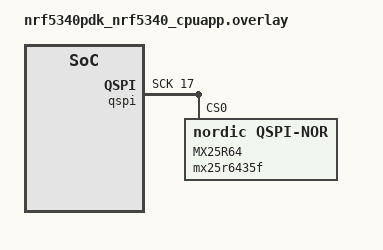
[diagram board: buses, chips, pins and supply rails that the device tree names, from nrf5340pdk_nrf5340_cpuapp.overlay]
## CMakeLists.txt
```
# SPDX-License-Identifier: Apache-2.0

cmake_minimum_required(VERSION 3.13.1)
find_package(Zephyr REQUIRED HINTS $ENV{ZEPHYR_BASE})
project(qspi_testing)

FILE(GLOB app_sources src/*.c)
target_sources(app PRIVATE ${app_sources})
```

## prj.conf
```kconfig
CONFIG_STDOUT_CONSOLE=y
CONFIG_FLASH=y
CONFIG_SPI=y

CONFIG_NORDIC_QSPI_NOR=y
```

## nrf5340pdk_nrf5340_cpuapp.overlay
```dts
&qspi {
	status = "okay";
	sck-pin = <17>;
	io-pins = <13>, <14>, <15>, <16>;
	csn-pins = <18>;
	mx25r64: mx25r6435f@0 {
		compatible = "nordic,qspi-nor";
		reg = <0>;
		writeoc = "pp4io";
		readoc = "read4io";
		sck-frequency = <8000000>;
		label = "MX25R64";
		jedec-id = [c2 28 17];
		size = <67108864>;
		has-be32k;
		has-dpd;
		t-enter-dpd = <10000>;
		t-exit-dpd = <35000>;
	};
};
```

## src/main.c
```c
/*
 * Copyright (c) 2016 Intel Corporation.
 *
 * SPDX-License-Identifier: Apache-2.0
 */

#include <zephyr.h>
#include <drivers/flash.h>
#include <device.h>
#include <stdio.h>
#include <string.h>

#if (CONFIG_SPI_FLASH_W25QXXDV - 0)
/* NB: W25Q16DV is a JEDEC spi-nor device, but has a separate driver. */
#define FLASH_DEVICE CONFIG_SPI_FLASH_W25QXXDV_DRV_NAME
#define FLASH_NAME "W25QXXDV"
#elif (CONFIG_SPI_NOR - 0) ||				\
	DT_NODE_HAS_STATUS(DT_INST(0, jedec_spi_nor), okay)
#define FLASH_DEVICE DT_LABEL(DT_INST(0, jedec_spi_nor))
#define FLASH_NAME "JEDEC SPI-NOR"
#elif (CONFIG_NORDIC_QSPI_NOR - 0) || \
	DT_NODE_HAS_STATUS(DT_INST(0, nordic_qspi_nor), okay)
#define FLASH_DEVICE DT_LABEL(DT_INST(0, nordic_qspi_nor))
#define FLASH_NAME "JEDEC QSPI-NOR"
#else
#error Unsupported flash driver
#endif

#if defined(CONFIG_BOARD_ADAFRUIT_FEATHER_STM32F405)
#define FLASH_TEST_REGION_OFFSET 0xf000
#else
#define FLASH_TEST_REGION_OFFSET 0xff000
#endif
#define FLASH_SECTOR_SIZE        4096

void main(void)
{
	const u8_t expected[] = {
			0x0,0x1,0x2,0x3,0x4,0x5,0x6,0x7,0x8,0x9,0xA,0xB,0xC,0xD,0xE,0xF,
			0x10,0x11,0x12,0x13,0x14,0x15,0x16,0x17,0x18,0x19,0x1A,0x1B,0x1C,
			0x1D,0x1E,0x1F,0x20,0x21,0x22,0x23,0x24,0x25,0x26,0x27,0x28,0x29,
			0x2A,0x2B,0x2C,0x2D,0x2E,0x2F,0x30,0x31,0x32,0x33,0x34,0x35,0x36,
			0x37,0x38,0x39,0x3A,0x3B,0x3C,0x3D,0x3E,0x3F,0x40,0x41,0x42,0x43,
			0x44,0x45,0x46,0x47,0x48,0x49,0x4A,0x4B,0x4C,0x4D,0x4E,0x4F,0x50,
			0x51,0x52,0x53,0x54,0x55,0x56,0x57,0x58,0x59,0x5A,0x5B,0x5C,0x5D,
			0x5E,0x5F,0x60,0x61,0x62,0x63,0x64,0x65,0x66,0x67,0x68,0x69,0x6A,
			0x6B,0x6C,0x6D,0x6E,0x6F,0x70,0x71,0x72,0x73,0x74,0x75,0x76,0x77,
			0x78,0x79,0x7A,0x7B,0x7C,0x7D,0x7E,0x7F,0x80,0x81,0x82,0x83,0x84,
			0x85,0x86,0x87,0x88,0x89,0x8A,0x8B,0x8C,0x8D,0x8E,0x8F,0x90,0x91,
			0x92,0x93,0x94,0x95,0x96,0x97,0x98,0x99,0x9A,0x9B,0x9C,0x9D,0x9E,
			0x9F,0xA0,0xA1,0xA2,0xA3,0xA4,0xA5,0xA6,0xA7,0xA8,0xA9,0xAA,0xAB,
			0xAC,0xAD,0xAE,0xAF,0xB0,0xB1,0xB2,0xB3,0xB4,0xB5,0xB6,0xB7,0xB8,
			0xB9,0xBA,0xBB,0xBC,0xBD,0xBE,0xBF,0xC0,0xC1,0xC2,0xC3,0xC4,0xC5,
			0xC6,0xC7,0xC8,0xC9,0xCA,0xCB,0xCC,0xCD,0xCE,0xCF,0xD0,0xD1,0xD2,
			0xD3,0xD4,0xD5,0xD6,0xD7,0xD8,0xD9,0xDA,0xDB,0xDC,0xDD,0xDE,0xDF,
			0xE0,0xE1,0xE2,0xE3,0xE4,0xE5,0xE6,0xE7,0xE8,0xE9,0xEA,0xEB,0xEC,
			0xED,0xEE,0xEF,0xF0,0xF1,0xF2,0xF3,0xF4,0xF5,0xF6,0xF7,0xF8,0xF9,
			0xFA,0xFB,0xFC,0xFD,0xFE,0xFF };
	const size_t len = sizeof(expected);
	u8_t buf[sizeof(expected)];
	struct device *flash_dev;
	int rc;

	printf("\n" FLASH_NAME " SPI flash testing\n");
	printf("==========================\n");

	flash_dev = device_get_binding(FLASH_DEVICE);

	if (!flash_dev) {
		printf("SPI flash driver %s was not found!\n",
		       FLASH_DEVICE);
		return;
	}

	/* Write protection needs to be disabled before each write or
	 * erase, since the flash component turns on write protection
	 * automatically after completion of write and erase
	 * operations.
	 */
	printf("\nTest 1: Flash erase\n");
	flash_write_protection_set(flash_dev, false);

	rc = flash_erase(flash_dev, FLASH_TEST_REGION_OFFSET,
			 FLASH_SECTOR_SIZE);
	if (rc != 0) {
		printf("Flash erase failed! %d\n", rc);
	} else {
		printf("Flash erase succeeded!\n");
	}

	printf("\nTest 2: Flash write\n");
	flash_write_protection_set(flash_dev, false);

	printf("Attempting to write %u bytes\n", len);
	rc = flash_write(flash_dev, FLASH_TEST_REGION_OFFSET, expected, len);
	if (rc != 0) {
		printf("Flash write failed! %d\n", rc);
		return;
	}

	memset(buf, 0, len);
	rc = flash_read(flash_dev, FLASH_TEST_REGION_OFFSET, buf, len);
	if (rc != 0) {
		printf("Flash read failed! %d\n", rc);
		return;
	}

	if (memcmp(expected, buf, len) == 0) {
		printf("Data read matches data written. Good!!\n");
	} else {
		const u8_t *wp = expected;
		const u8_t *rp = buf;
		const u8_t *rpe = rp + len;

		printf("Data read does not match data written!!\n");
		while (rp < rpe) {
			printf("%08x wrote %02x read %02x %s\n",
			       (u32_t)(FLASH_TEST_REGION_OFFSET + (rp - buf)),
			       *wp, *rp, (*rp == *wp) ? "match" : "MISMATCH");
			++rp;
			++wp;
		}
	}
}
```
